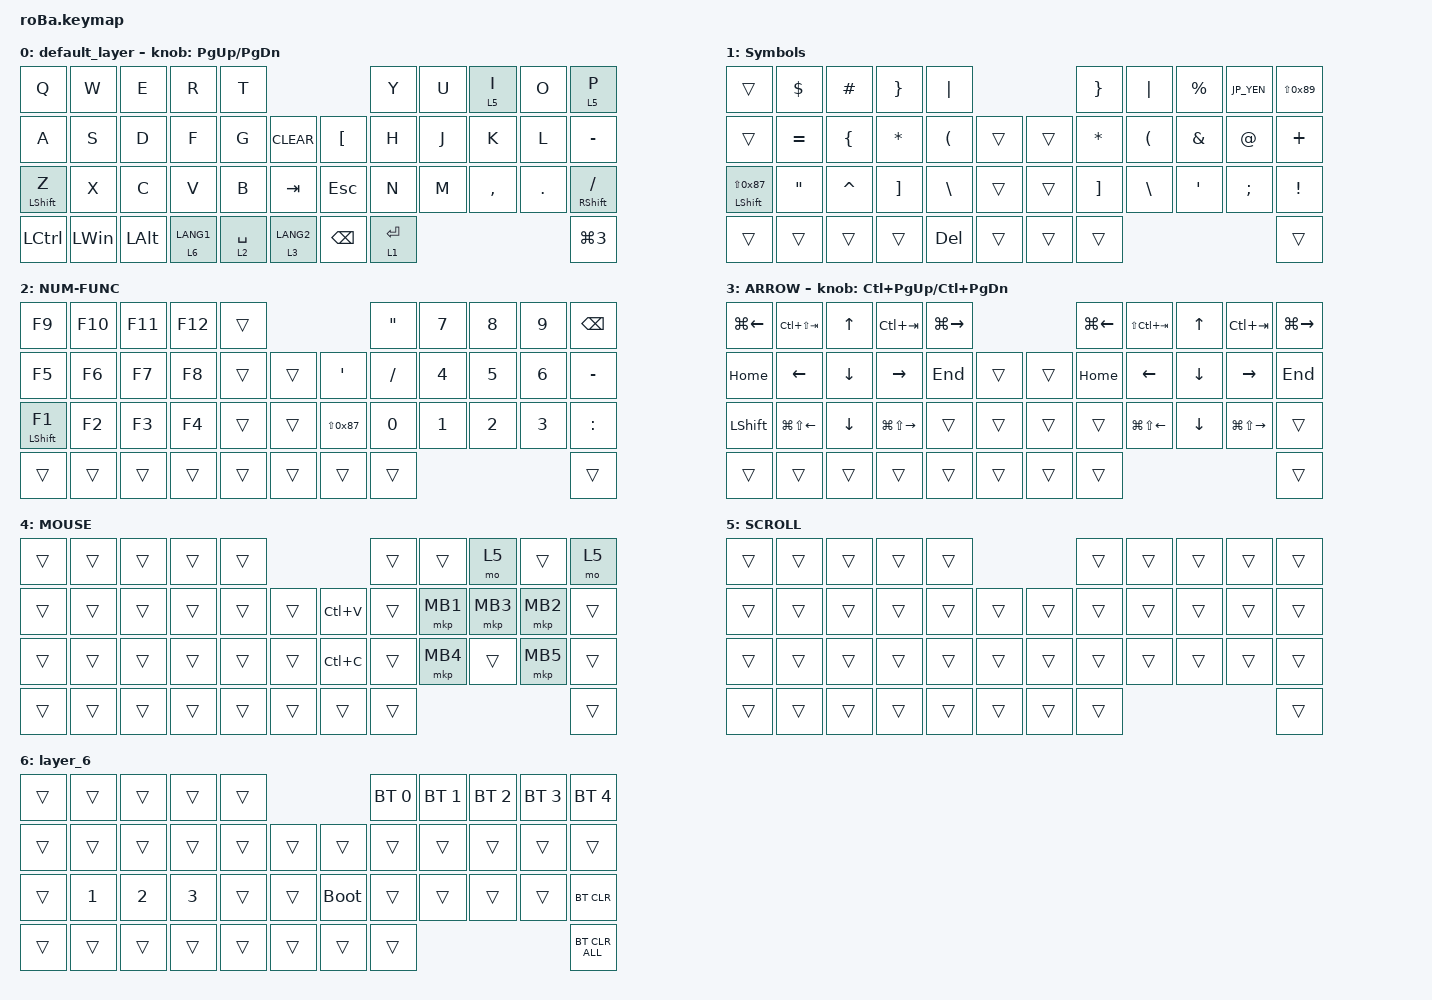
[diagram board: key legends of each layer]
#include <behaviors.dtsi>
#include <dt-bindings/zmk/bt.h>
#include <dt-bindings/zmk/keys.h>
#include <dt-bindings/zmk/pointing.h>

// OS設定を日本語キーボードのまま使用するための変換定義

#define JP_DQUOTE       AT                // "
#define JP_AMPERSAND    CARET             // &
#define JP_QUOTE        AMPERSAND         // '
#define JP_EQUAL        UNDER             // =
#define JP_CARET        EQUAL             // ^
#define JP_YEN          0x89              // ¥
#define JP_PLUS         COLON             // +
#define JP_TILDE        PLUS              // ~
#define JP_PIPE         LS(0x89)          // |
#define JP_AT           LEFT_BRACKET      // @
#define JP_COLON        SINGLE_QUOTE      // :
#define JP_ASTERISK     DOUBLE_QUOTES     // *
#define JP_BACKQUOTE    LEFT_BRACE        // `
#define JP_UNDERSCORE   LS(0x87)          // _
#define JP_LBRACKET     RIGHT_BRACKET     // [
#define JP_RBRACKET     BACKSLASH         // ]
#define JP_LPAREN       ASTERISK          // (
#define JP_RPAREN       LEFT_PARENTHESIS  // )
#define JP_LBRACE       RIGHT_BRACE       // {
#define JP_RBRACE       PIPE              // }
#define JP_KANA         LANGUAGE_1        // かな
#define JP_EISU         LANGUAGE_2        // 英数
#define JP_HANZEN       GRAVE             // 半角/全角

&mt {
    flavor = "balanced";
    quick-tap-ms = <0>;
};

&trackball {
    automouse-layer = <4>;
    scroll-layers = <5>;

    // arrows {
    //     layers = <3>;
    //     bindings =
    //         <&kp RIGHT_ARROW>,
    //         <&kp LEFT_ARROW>,
    //         <&kp UP_ARROW>,
    //         <&kp DOWN_ARROW>;
    //     tick = <10>;
    //     wait-ms = <5>;
    //     tap-ms = <5>;
    // };
};

/ {
    combos {
        compatible = "zmk,combos";

        L_Click {
            bindings = <&mkp LCLK>;
            key-positions = <18 19>;
            timeout-ms = <0>;
            require-prior-idle-ms = <0>;
        };

        R_Click {
            bindings = <&mkp RCLK>;
            key-positions = <19 20>;
        };
    };

    macros {
        to_layer_0: to_layer_0 {
            compatible = "zmk,behavior-macro-one-param";
            #binding-cells = <1>;
            bindings = <&to 0 &macro_param_1to1 &kp MACRO_PLACEHOLDER>;
            label = "TO_LAYER_0";
        };
    };

    behaviors {
        lt_to_layer_0: lt_to_layer_0 {
            compatible = "zmk,behavior-hold-tap";
            label = "LAYER_TAP_TO_0";
            bindings = <&mo>, <&to_layer_0>;

            #binding-cells = <2>;
            tapping-term-ms = <200>;
        };
    };

    keymap {
        compatible = "zmk,keymap";

        default_layer {
            bindings = <
&kp Q             &kp W         &kp E         &kp R        &kp T                                        &kp Y        &kp U  &lt 5 I    &kp O    &lt 5 P
&kp A             &kp S         &kp D         &kp F        &kp G        &kp CLEAR        &kp JP_AT      &kp H        &kp J  &kp K      &kp L    &kp MINUS
&mt LEFT_SHIFT Z  &kp X         &kp C         &kp V        &kp B        &kp TAB          &kp ESC        &kp N        &kp M  &kp COMMA  &kp DOT  &mt RIGHT_SHIFT SLASH
&kp LCTRL         &kp LEFT_WIN  &kp LEFT_ALT  &lt 6 LANG1  &lt 2 SPACE  &lt 3 LANG2      &kp BACKSPACE  &lt 1 ENTER                             &kp LG(N3)
            >;

            sensor-bindings = <&inc_dec_kp PG_UP PAGE_DOWN>;
        };

        Symbols {
            bindings = <
&trans                    &kp DOLLAR       &kp HASH          &kp JP_LBRACE    &kp JP_RBRACE                        &kp JP_LBRACE    &kp JP_RBRACE    &kp PRCNT     &kp JP_YEN     &kp JP_PIPE
&trans                    &kp JP_CARET     &kp JP_BACKQUOTE  &kp JP_LPAREN    &kp JP_RPAREN    &trans      &trans  &kp JP_LPAREN    &kp JP_RPAREN    &kp JP_QUOTE  &kp JP_DQUOTE  &kp JP_TILDE
&mt LSHIFT JP_UNDERSCORE  &kp JP_ASTERISK  &kp JP_AMPERSAND  &kp JP_LBRACKET  &kp JP_RBRACKET  &trans      &trans  &kp JP_LBRACKET  &kp JP_RBRACKET  &kp JP_COLON  &kp SEMI       &kp EXCL
&trans                    &trans           &trans            &trans           &kp DEL          &trans      &trans  &trans                                                         &trans
            >;
        };

        NUM-FUNC {
            bindings = <
&kp F9             &kp F10  &kp F11  &kp F12  &trans                                 &kp JP_ASTERISK  &kp N7  &kp N8  &kp N9  &kp BACKSPACE
&kp F5             &kp F6   &kp F7   &kp F8   &trans  &trans      &kp JP_COLON       &kp SLASH        &kp N4  &kp N5  &kp N6  &kp MINUS
&mt LEFT_SHIFT F1  &kp F2   &kp F3   &kp F4   &trans  &trans      &kp JP_UNDERSCORE  &kp N0           &kp N1  &kp N2  &kp N3  &kp JP_PLUS
&trans             &trans   &trans   &trans   &trans  &trans      &trans             &trans                                   &trans
            >;
        };

        ARROW {
            bindings = <
&kp LG(LEFT_ARROW)  &kp LC(LS(TAB))         &kp UP_ARROW    &kp LC(TAB)              &kp LG(RIGHT_ARROW)                      &kp LG(LEFT_ARROW)  &kp LS(LC(TAB))         &kp UP_ARROW    &kp LC(TAB)              &kp LG(RIGHT_ARROW)
&kp HOME            &kp LEFT_ARROW          &kp DOWN_ARROW  &kp RIGHT_ARROW          &kp END              &trans      &trans  &kp HOME            &kp LEFT_ARROW          &kp DOWN_ARROW  &kp RIGHT_ARROW          &kp END
&kp LEFT_SHIFT      &kp LG(LS(LEFT_ARROW))  &kp DOWN_ARROW  &kp LG(LS(RIGHT_ARROW))  &trans               &trans      &trans  &trans              &kp LG(LS(LEFT_ARROW))  &kp DOWN_ARROW  &kp LG(LS(RIGHT_ARROW))  &trans
&trans              &trans                  &trans          &trans                   &trans               &trans      &trans  &trans                                                                               &trans
            >;

            sensor-bindings = <&inc_dec_kp LC(PAGE_UP) LC(PAGE_DOWN)>;
        };

        MOUSE {
            bindings = <
&trans  &trans  &trans  &trans  &trans                         &trans  &trans    &mo 5     &trans    &mo 5
&trans  &trans  &trans  &trans  &trans  &trans      &kp LC(V)  &trans  &mkp MB1  &mkp MB3  &mkp MB2  &trans
&trans  &trans  &trans  &trans  &trans  &trans      &kp LC(C)  &trans  &mkp MB4  &trans    &mkp MB5  &trans
&trans  &trans  &trans  &trans  &trans  &trans      &trans     &trans                                &trans
            >;
        };

        SCROLL {
            bindings = <
&trans  &trans  &trans  &trans  &trans                      &trans  &trans  &trans  &trans  &trans
&trans  &trans  &trans  &trans  &trans  &trans      &trans  &trans  &trans  &trans  &trans  &trans
&trans  &trans  &trans  &trans  &trans  &trans      &trans  &trans  &trans  &trans  &trans  &trans
&trans  &trans  &trans  &trans  &trans  &trans      &trans  &trans                          &trans
            >;
        };

        layer_6 {
            bindings = <
&trans  &trans        &trans        &trans        &trans                           &bt BT_SEL 0  &bt BT_SEL 1  &bt BT_SEL 2  &bt BT_SEL 3  &bt BT_SEL 4
&trans  &trans        &trans        &trans        &trans  &trans      &trans       &trans        &trans        &trans        &trans        &trans
&trans  &kp NUMBER_1  &kp NUMBER_2  &kp NUMBER_3  &trans  &trans      &bootloader  &trans        &trans        &trans        &trans        &bt BT_CLR
&trans  &trans        &trans        &trans        &trans  &trans      &trans       &trans                                                  &bt BT_CLR_ALL
            >;
        };
    };
};
